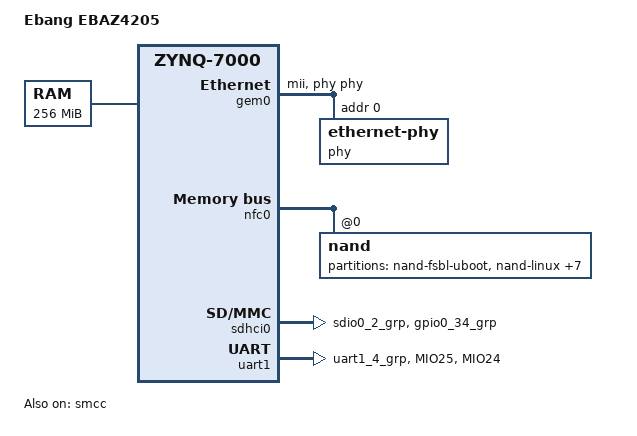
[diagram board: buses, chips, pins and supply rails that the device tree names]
// SPDX-License-Identifier: GPL-2.0
/*
 * Copyright (C) 2021 Michael Walle <michael@walle.cc>
 */
/dts-v1/;
/include/ "zynq-7000.dtsi"

/ {
	model = "Ebang EBAZ4205";
	compatible = "ebang,ebaz4205", "xlnx,zynq-7000";

	aliases {
		ethernet0 = &gem0;
		serial0 = &uart1;
	};

	memory@0 {
		device_type = "memory";
		reg = <0x0 0x10000000>;
	};

	chosen {
		stdout-path = "serial0:115200n8";
	};
};

&clkc {
	ps-clk-frequency = <33333333>;
	fclk-enable = <9>;	/* +FCLK0 (bit0) for PL AXI under Linux */
};

&gem0 {
	status = "okay";
	phy-mode = "mii";
	phy-handle = <&phy>;

	/* PHY clock */
	assigned-clocks = <&clkc 18>;
	assigned-clock-rates = <25000000>;

	phy: ethernet-phy@0 {
		reg = <0>;
	};
};

&gpio0 {
	pinctrl-names = "default";
	pinctrl-0 = <&pinctrl_gpio0_default>;
};

&nfc0 {
	status = "okay";
	#address-cells = <1>;
	#size-cells = <0>;

	nand@0 {
		reg = <0>;

		partitions {
			compatible = "fixed-partitions";
			#address-cells = <1>;
			#size-cells = <1>;

			partition@0 { label = "nand-fsbl-uboot";  reg = <0x00000000 0x00300000>; };
			partition@1 { label = "nand-linux";       reg = <0x00300000 0x00500000>; };
			partition@2 { label = "nand-device-tree"; reg = <0x00800000 0x00020000>; };
			partition@3 { label = "nand-rootfs";      reg = <0x00820000 0x00a00000>; };
			partition@4 { label = "nand-jffs2";       reg = <0x01220000 0x01000000>; };
			partition@5 { label = "nand-bitstream";   reg = <0x02220000 0x00800000>; };
			partition@6 { label = "nand-allrootfs";   reg = <0x02a20000 0x04000000>; };
			partition@7 { label = "nand-release";     reg = <0x06a20000 0x013e0000>; };
			partition@8 { label = "nand-reserve";     reg = <0x07e00000 0x00200000>; };
		};
	};
};

&pinctrl0 {
	pinctrl_gpio0_default: gpio0-default {
		mux {
			groups = "gpio0_20_grp", "gpio0_32_grp";
			function = "gpio0";
		};

		conf {
			groups = "gpio0_20_grp", "gpio0_32_grp";
			io-standard = <3>;
			slew-rate = <0>;
		};

		conf-pull-up {
			pins = "MIO20", "MIO32";
			bias-disable;
		};
	};

	pinctrl_sdhci0_default: sdhci0-default {
		mux {
			groups = "sdio0_2_grp";
			function = "sdio0";
		};

		conf {
			groups = "sdio0_2_grp";
			io-standard = <3>;
			slew-rate = <0>;
			bias-disable;
		};

		mux-cd {
			groups = "gpio0_34_grp";
			function = "sdio0_cd";
		};

		conf-cd {
			groups = "gpio0_34_grp";
			io-standard = <3>;
			slew-rate = <0>;
			bias-high-impedance;
			bias-pull-up;
		};
	};

	pinctrl_uart1_default: uart1-default {
		mux {
			groups = "uart1_4_grp";
			function = "uart1";
		};

		conf {
			groups = "uart1_4_grp";
			io-standard = <3>;
			slew-rate = <0>;
		};

		conf-rx {
			pins = "MIO25";
			bias-high-impedance;
		};

		conf-tx {
			pins = "MIO24";
			bias-disable;
		};
	};
};

&smcc {
	status = "okay";
};

&sdhci0 {
	status = "okay";
	disable-wp;
	pinctrl-names = "default";
	pinctrl-0 = <&pinctrl_sdhci0_default>;
};

&uart1 {
	status = "okay";
	pinctrl-names = "default";
	pinctrl-0 = <&pinctrl_uart1_default>;
};
